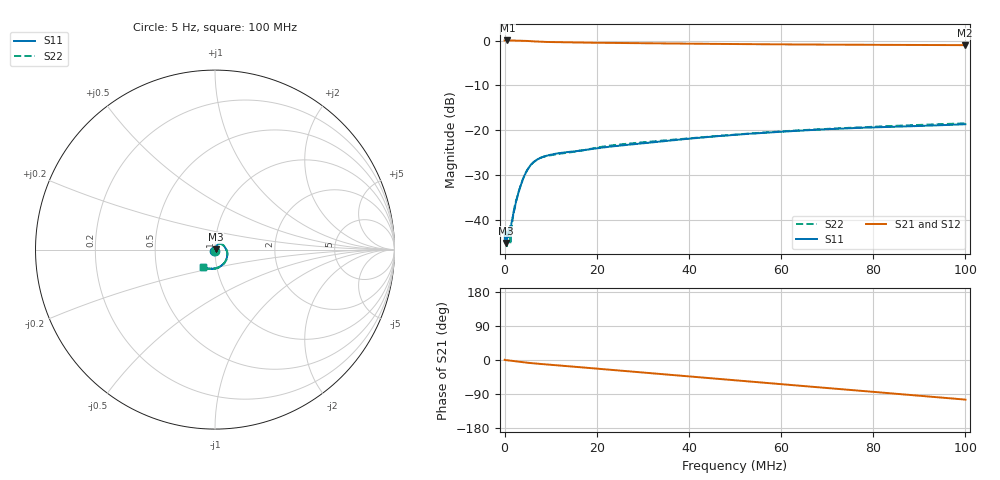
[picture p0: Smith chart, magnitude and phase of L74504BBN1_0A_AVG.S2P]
!Agilent Technologies,E5061B,MY49102235,A.02.00
!Date: Tue Jul 11 15:02:38 2023
!Data & Calibration Information:
!Freq	S11:SOLT2(ON)	S21:SOLT2(ON)	S12:SOLT2(ON)	S22:SOLT2(ON)
# Hz S RI R 50
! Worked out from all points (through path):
!   1600 points, 5 Hz to 100 MHz, reference 50 ohm
!   highest |S21| = 0.02 dB at 625.4 kHz (marker M1); lowest = -1.0 dB at 99.81 MHz (marker M2)
!   group delay of S21, straight-line fit = 2.85 ns
!   lowest |S11| = -45.1 dB at 250.2 kHz (marker M3), VSWR 1.01, Z = 50.5 + j0.157 ohm
!   |S11| at or under -10 dB: start of sweep to end of sweep
!   |S22| runs from -45.8 to -18.4 dB; largest |S21 - S12| = 0.0026
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5  -0.00522 -0.00564  1.002 0.008  1 0.0102  -0.0015 -0.00756
250161.3  0.00532 0.00155  1.001 -0.0048  1.001 -0.00491  0.00729 -0.000299
625395.8  0.00526 0.00369  1.002 -0.0147  1.002 -0.0144  0.00628 0.00332
938091.3  0.00469 0.0061  1.001 -0.0215  1.001 -0.0214  0.00625 0.00551
1313326  0.00507 0.00693  1 -0.0305  1.001 -0.0309  0.00326 0.00538
1688560  0.00471 0.00913  0.9997 -0.0411  1.001 -0.0413  0.00442 0.00831
2063795  0.00437 0.0123  1 -0.0507  0.9995 -0.0511  0.0048 0.0121
2376490  0.00501 0.0142  0.9981 -0.0584  0.9986 -0.0588  0.00565 0.0145
2939342  0.00725 0.0183  0.9966 -0.0732  0.9961 -0.0734  0.0062 0.0187
3439655  0.00923 0.0221  0.9939 -0.0862  0.9941 -0.0864  0.00809 0.0225
4565358  0.0162 0.0291  0.9852 -0.1146  0.985 -0.1144  0.0159 0.0295
5753601  0.0264 0.032  0.9731 -0.1402  0.973 -0.1401  0.026 0.0323
7317078  0.0377 0.0299  0.9581 -0.1676  0.958 -0.1675  0.0372 0.0302
9068172  0.0455 0.025  0.9445 -0.1956  0.9443 -0.1954  0.0451 0.0252
1.669794e7  0.0593 0.00573  0.8947 -0.3147  0.8946 -0.3145  0.0591 0.00561
2.345216e7  0.0657 -0.00775  0.8429 -0.4181  0.8428 -0.4178  0.0676 -0.00894
3.333334e7  0.0681 -0.0305  0.7463 -0.555  0.7462 -0.5548  0.0691 -0.0316
5.003127e7  0.0553 -0.0699  0.5406 -0.7371  0.5405 -0.7369  0.055 -0.0709
6.672921e7  0.0188 -0.099  0.2991 -0.8512  0.2993 -0.8511  0.0195 -0.0999
8.33646e7  -0.0251 -0.1061  0.0398 -0.8938  0.0398 -0.8938  -0.025 -0.1085
9.981238e7  -0.0675 -0.0952  -0.2194 -0.8611  -0.2193 -0.8612  -0.068 -0.0981
1e8  -0.0681 -0.0951  -0.2224 -0.8604  -0.2223 -0.8604  -0.0685 -0.0981
